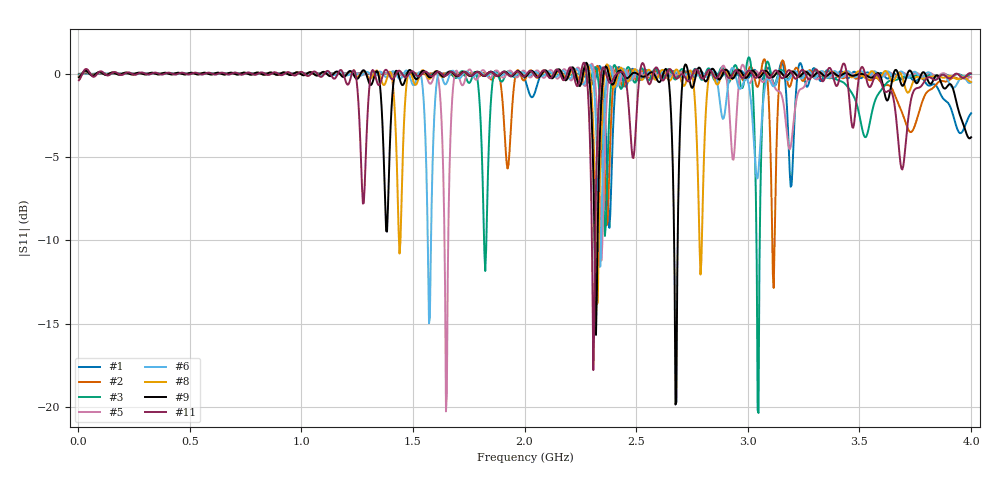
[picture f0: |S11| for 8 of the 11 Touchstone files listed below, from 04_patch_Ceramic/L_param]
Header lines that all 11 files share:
! TOUCHSTONE file generated by CST MICROWAVE STUDIO
! Project name: AppElm_antenne_patch_Alumina.cst
! Header version: 2018
! Port assignment regex: !\s*Touchstone port\s*([0-9]+)\s*=\s*(CST MWS port|CST DS port)\s*([0-9]+|Zmin|Zmax)\s*\(\"(.*)\"\)(\s*mode\s*([0-9]+))?.*
! Touchstone port assignment:
! Touchstone port 1 = CST MWS port 1 ("")
# GHz S MA R 50
Fixed: W = 41.8, e = 0.035, h = 1.6, lambda = 0.190476, ls = 90, w0 = 1.12, w1 = 0.373, ws = 90, y0 = 14, y1 = 10
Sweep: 4 MHz to 4 GHz
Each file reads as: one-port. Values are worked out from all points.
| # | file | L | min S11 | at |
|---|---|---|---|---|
| 1 | AppElm_antenne_patch_Alumina_1.s1p | 22.875 | -9.3 dB | 2.38 GHz |
| 2 | AppElm_antenne_patch_Alumina_2.s1p | 24.4 | -12.9 dB | 3.116 GHz |
| 3 | AppElm_antenne_patch_Alumina_3.s1p | 25.925 | -20.4 dB | 3.048 GHz |
| 4 | AppElm_antenne_patch_Alumina_4.s1p | 27.45 | -23.8 dB | 1.732 GHz |
| 5 | AppElm_antenne_patch_Alumina_5.s1p | 28.975 | -20.3 dB | 1.648 GHz |
| 6 | AppElm_antenne_patch_Alumina_6.s1p | 30.5 | -15.0 dB | 1.572 GHz |
| 7 | AppElm_antenne_patch_Alumina_7.s1p | 32.025 | -13.2 dB | 2.332 GHz |
| 8 | AppElm_antenne_patch_Alumina_8.s1p | 33.55 | -13.8 dB | 2.324 GHz |
| 9 | AppElm_antenne_patch_Alumina_9.s1p | 35.075 | -19.9 dB | 2.676 GHz |
| 10 | AppElm_antenne_patch_Alumina_10.s1p | 36.6 | -16.1 dB | 2.316 GHz |
| 11 | AppElm_antenne_patch_Alumina_11.s1p | 38.125 | -17.8 dB | 2.308 GHz |
